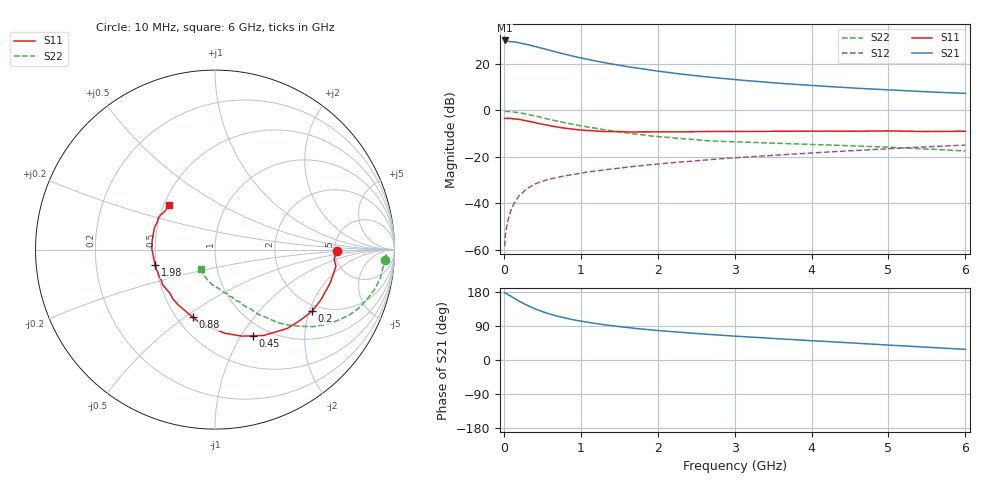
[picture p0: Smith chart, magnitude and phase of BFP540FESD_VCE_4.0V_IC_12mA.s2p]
! Infineon Technologies  Discrete & RF Semiconductors
! BFP540FESD
! VCE =  4.0 V,  IC =  12 mA
! Common Emitter S-Parameters:  Nov 2015
# GHz  S  MA  R  50
!  f  S11  S21  S12  S22
! GHz  MAG  ANG  MAG  ANG  MAG  ANG  MAG  ANG
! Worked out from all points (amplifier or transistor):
!   210 points, 10 MHz to 6 GHz, reference 50 ohm
!   highest |S21| = 30.1 dB at 10 MHz (marker M1)
!   |S21| within 3 dB of that: start of sweep to 454.3 MHz
!   unconditionally stable (mu >= 1): start of sweep to 16.43 MHz; 2.107 GHz to end of sweep
!   at 185 MHz: K = 0.27, MSG = 33.3 dB, |S12| = -37.4 dB
!   at 1.52 GHz: K = 0.88, MSG = 22.0 dB, |S12| = -24.8 dB
!   at 6 GHz: K = 1.21, MAG = 8.4 dB, |S12| = -14.9 dB
!   S11 on the Smith chart (normalised r, x): 10 MHz: 5.19, -0.14; 200 MHz: 1.80, -2.09; 450 MHz: 0.85, -1.13; 880 MHz: 0.60, -0.54; 1.98 GHz: 0.49, -0.10; 6 GHz: 0.53, +0.30
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0.01  0.6772 -0.6  31.99 177.5  0.0012 20.7  0.9464 -3.4
0.02  0.6659 -4.5  30.7 176.8  0.0021 41.9  0.9546 -1.8
0.05  0.6803 -7.9  30.76 173.2  0.004 69.8  0.9445 -4.7
0.1  0.6686 -16.0  30.11 166.9  0.0076 76.1  0.9353 -9.6
0.15  0.6533 -25.3  29.61 160.9  0.0111 73.4  0.9159 -14.2
0.2  0.6411 -32.3  28.52 154.9  0.0146 72.5  0.8885 -18.6
0.3  0.5961 -47.5  26.34 144.4  0.0205 67.4  0.8284 -26.4
0.4  0.5495 -60.6  23.92 135.3  0.0259 64.2  0.7622 -32.8
0.45  0.5245 -66.3  22.74 131.6  0.0279 62.6  0.7276 -35.4
0.5  0.5053 -72.6  21.67 127.5  0.0299 61.3  0.6946 -38.2
0.6  0.4696 -83.2  19.46 120.9  0.0333 59.1  0.6359 -42.2
0.7  0.4379 -92.2  17.67 115.5  0.0361 57.7  0.5867 -45.7
0.88  0.3963 -108.2  14.93 107.1  0.0412 56.5  0.5077 -50.8
1.02  0.3754 -118.4  13.24 101.8  0.0453 56.4  0.4604 -54.0
1.2  0.3609 -130.7  11.47 96.0  0.0498 54.9  0.4096 -57.7
1.42  0.3496 -142.2  9.855 90.1  0.0555 54.9  0.3596 -61.9
1.98  0.3449 -165.4  7.088 78.2  0.0695 53.7  0.2756 -71.7
2.02  0.3448 -166.8  6.947 77.5  0.0704 53.6  0.2718 -72.4
3.1  0.3535 170.2  4.457 61.8  0.0981 50.7  0.2081 -88.9
4.1  0.3579 159.0  3.355 49.9  0.1246 46.8  0.1828 -99.9
5.1  0.3598 148.3  2.716 38.2  0.1532 40.6  0.159 -110.5
6  0.3563 136.1  2.324 28.1  0.1795 34.3  0.1339 -124.5
